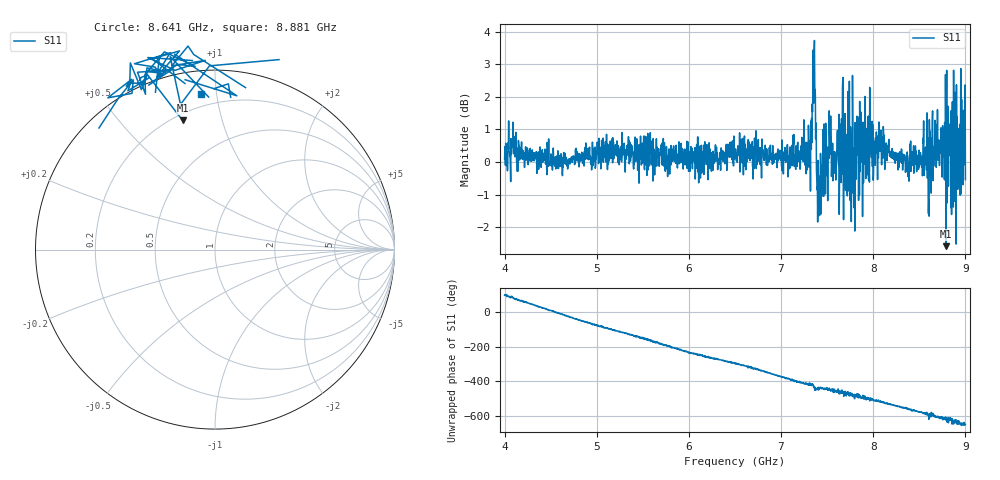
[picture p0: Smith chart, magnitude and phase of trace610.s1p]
! Created with skrf 1.8.0 (http://scikit-rf.org).
# Hz S RI R 50.0
!freq ReS11 ImS11
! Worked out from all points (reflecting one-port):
!   1601 points, 4 GHz to 9 GHz, reference 50 ohm
!   lowest |S11| = -2.6 dB at 8.791 GHz (marker M1), VSWR 6.78, Z = 11.7 + j37.6 ohm
!   phase of S11 starts at 97 deg and turns -748 deg over the sweep
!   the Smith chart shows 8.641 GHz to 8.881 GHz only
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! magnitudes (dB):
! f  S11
! 4 GHz  0.1
! 4.1 GHz  0.4
! 4.625 GHz  -0.4
! 5.25 GHz  0.2
! 5.875 GHz  -0.2
! 6.5 GHz  0.1
! 7.125 GHz  0.4
! 7.294 GHz  0.2
! 7.356 GHz  2.3
! 7.409 GHz  -0.6
! 7.516 GHz  0.2
! 7.572 GHz  0.3
! 7.647 GHz  1.2
! 7.7 GHz  -0.9
! 7.75 GHz  -1.2
! 7.775 GHz  2.7
! 7.828 GHz  0.2
! 7.881 GHz  0.8
! 7.962 GHz  2.3
! 8.375 GHz  -0.4
! 8.569 GHz  -0.1
! 8.581 GHz  0.4
! 8.612 GHz  0.7
! 8.656 GHz  -0.1
! 8.791 GHz  -2.6
! 8.919 GHz  -0.8
! 8.972 GHz  0.2
! 9 GHz  -0.5
